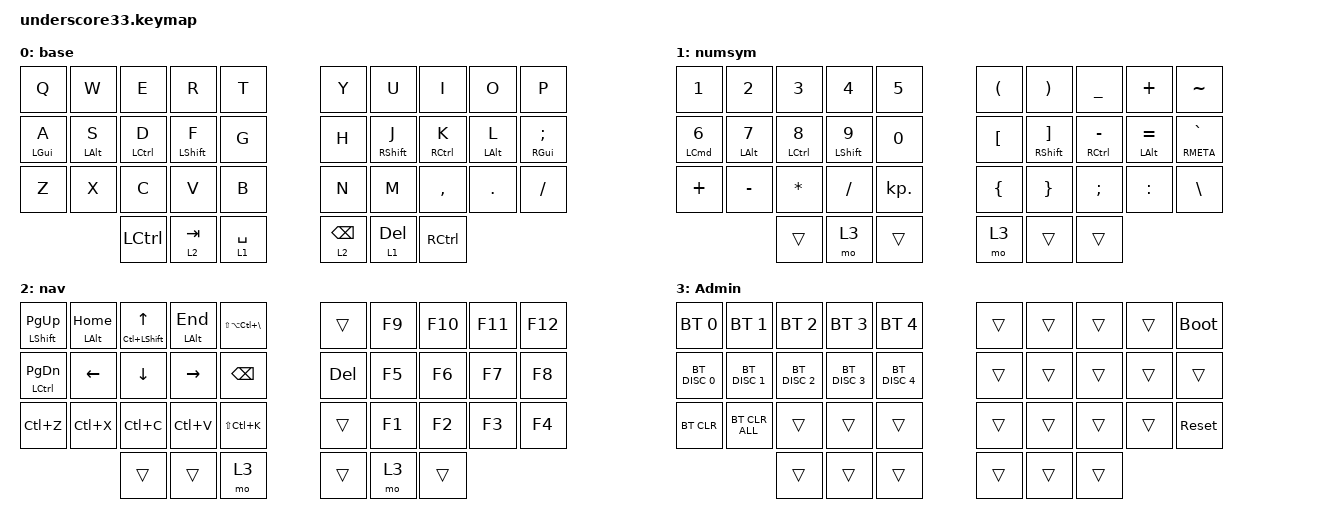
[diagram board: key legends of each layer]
/*
 * Copyright (c) 2020 The ZMK Contributors
 *
 * SPDX-License-Identifier: MIT
 */
// This key-map file WILL NOT WORK FOR YOU, you will need to modify it. I really do not recommend adapting to it.
// This key-map file is set-up to be the split space layout.
// I strongly urge you to customise your firmware to suit your usage.
// Please feel free to join the ZMK server at https://discord.gg/TdRMQaTYdF for help.

#include <behaviors.dtsi>
#include <dt-bindings/zmk/bt.h>
#include <dt-bindings/zmk/keys.h>

/ {
    behaviors {
        hm: homerow_mods {
            compatible = "zmk,behavior-hold-tap";
            label = "HOMEROW_MODS";
            #binding-cells = <2>;
            tapping_term_ms = <300>;
            flavor = "tap-preferred";
            bindings = <&kp>, <&kp>;
        };

        combos { compatible = "zmk,combos"; };
    };

    keymap {
        compatible = "zmk,keymap";

        base {
            // -----------------------------------------------------------------------------------------
            // |  Q  |  W  |  E  |  R  |  T   |  Y  |  U   |  I  |  O  |  P  |
            // |  A  |  S  |  D  |  F  |  G   |  H  |  J   |  K  |  L  |  ;  |
            // |  Z  |  X  |  C  |  V  |  B   |  N  |  M   |  ,  |  .  |  /  |
            //             | CTL | ALT |  ENT | SPC | GUI  | CTL |

            bindings = <
&kp Q       &kp W       &kp E        &kp R        &kp T            &kp Y         &kp U        &kp I        &kp O       &kp P
&hm LGUI A  &hm LALT S  &hm LCTRL D  &hm LSHFT F  &kp G            &kp H         &hm RSHFT J  &hm RCTRL K  &hm LALT L  &hm RGUI SEMI
&kp Z       &kp X       &kp C        &kp V        &kp B            &kp N         &kp M        &kp COMMA    &kp DOT     &kp FSLH
&kp LCTRL   &lt 2 TAB   &lt 1 SPACE               &lt 2 BACKSPACE  &lt 1 DELETE  &kp RCTRL
            >;
        };

        numsym {
            // -----------------------------------------------------------------------------------------
            // |  1  |  2  |  3  |  4  |  5  |  6  |  7  |  8  |  9  |  0  |
            // |  !  |  @  |  #  |  $  |  %  |  ^  |  &  |  *  |  =  |  -  |
            // |  \  |  {  |  [  |  (  |  _  |  )  |  ]  |  }  |  .  |  `  |
            //             | CTL | ALT |  ENT | SPC | GUI  | CTL |

            bindings = <
&kp N1             &kp N2           &kp N3        &kp N4             &kp N5      &kp LEFT_PARENTHESIS  &kp RIGHT_PARENTHESIS    &kp UNDER        &kp PLUS            &kp TILDE
&hm LCMD NUMBER_6  &hm LEFT_ALT N7  &hm LCTRL N8  &hm LEFT_SHIFT N9  &kp N0      &kp LEFT_BRACKET      &hm RSHFT RIGHT_BRACKET  &hm RCTRL MINUS  &hm LEFT_ALT EQUAL  &hm RMETA GRAVE
&kp PLUS           &kp MINUS        &kp ASTERISK  &kp SLASH          &kp KP_DOT  &kp LEFT_BRACE        &kp RIGHT_BRACE          &kp SEMICOLON    &kp COLON           &kp BACKSLASH
&trans             &mo 3            &trans                           &mo 3       &trans                &trans
            >;
        };

        nav {
            // -----------------------------------------------------------------------------------------
            // |BTCLR| RST |     |      |     |      | PGDN |  UP  | PGUP |      |
            // | BT0 |CMENU|     |      |     | HOME | LEFT | DOWN |RIGHT | END  |
            // | BT1 | BOOT|     |      |     |      |      |      |      |      |
            //             | CTL | ALT |  ENT | SPC | GUI  | CTL |

            bindings = <
&mt LEFT_SHIFT PG_UP  &mt LEFT_ALT HOME  &mt LC(LEFT_SHIFT) UP_ARROW  &mt LEFT_ALT END  &kp LS(LA(LC(BACKSLASH)))  &trans      &kp F9  &kp F10  &kp F11  &kp F12
&mt LCTRL PAGE_DOWN   &kp LEFT_ARROW     &kp DOWN                     &kp RIGHT         &kp BACKSPACE              &kp DELETE  &kp F5  &kp F6   &kp F7   &kp F8
&kp LC(Z)             &kp LC(X)          &kp LC(C)                    &kp LC(V)         &kp LS(LC(K))              &trans      &kp F1  &kp F2   &kp F3   &kp F4
&trans                &trans             &mo 3                                          &trans                     &mo 3       &trans
            >;
        };

        Admin {
            bindings = <
&bt BT_SEL 0   &bt BT_SEL 1    &bt BT_SEL 2   &bt BT_SEL 3   &bt BT_SEL 4   &trans  &trans  &trans  &trans  &bootloader
&bt BT_DISC 0  &bt BT_DISC 1   &bt BT_DISC 2  &bt BT_DISC 3  &bt BT_DISC 4  &trans  &trans  &trans  &trans  &trans
&bt BT_CLR     &bt BT_CLR_ALL  &trans         &trans         &trans         &trans  &trans  &trans  &trans  &sys_reset
&trans         &trans          &trans                        &trans         &trans  &trans
            >;
        };
    };
};
